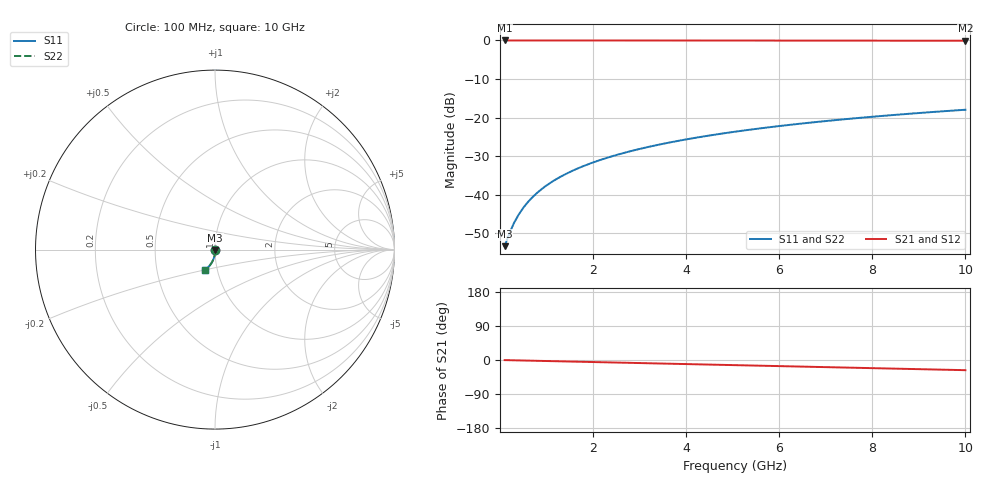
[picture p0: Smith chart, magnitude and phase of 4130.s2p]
# Hz S RI R 50.00
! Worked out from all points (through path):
!   100 points, 100 MHz to 10 GHz, reference 50 ohm
!   highest |S21| = -0.02 dB at 100 MHz (marker M1); lowest = -0.1 dB at 10 GHz (marker M2)
!   group delay of S21, straight-line fit = 7.46 ps
!   lowest |S11| = -53.3 dB at 100 MHz (marker M3), VSWR 1.00, Z = 50.2 - j0.132 ohm
!   |S11| at or under -10 dB: start of sweep to end of sweep
!   |S22| runs from -53.3 to -18.0 dB; largest |S21 - S12| = 0
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1e8  0.00172 -0.00132  0.9983 -0.00468  0.9983 -0.00468  0.00172 -0.00132
2e8  0.00171 -0.00264  0.9982 -0.00937  0.9982 -0.00937  0.00171 -0.00264
3e8  0.00168 -0.00396  0.9981 -0.0141  0.9981 -0.0141  0.00168 -0.00396
4e8  0.00164 -0.00528  0.998 -0.0187  0.998 -0.0187  0.00164 -0.00528
5e8  0.00159 -0.0066  0.9979 -0.0234  0.9979 -0.0234  0.00159 -0.0066
6e8  0.00152 -0.00791  0.9978 -0.0281  0.9978 -0.0281  0.00152 -0.00791
7e8  0.00145 -0.00923  0.9976 -0.0328  0.9976 -0.0328  0.00145 -0.00923
9e8  0.00125 -0.0119  0.9972 -0.0421  0.9972 -0.0421  0.00125 -0.0119
1e9  0.00113 -0.0132  0.997 -0.0468  0.997 -0.0468  0.00113 -0.0132
1.2e9  0.000865 -0.0158  0.9965 -0.0562  0.9965 -0.0562  0.000865 -0.0158
1.5e9  0.000367 -0.0197  0.9955 -0.0702  0.9955 -0.0702  0.000367 -0.0197
1.8e9  -0.000242 -0.0236  0.9943 -0.0842  0.9943 -0.0842  -0.000242 -0.0236
2.1e9  -0.000961 -0.0275  0.9929 -0.0982  0.9929 -0.0982  -0.000961 -0.0275
2.5e9  -0.00209 -0.0327  0.9907 -0.1168  0.9907 -0.1168  -0.00209 -0.0327
2.9e9  -0.00341 -0.0378  0.9881 -0.1353  0.9881 -0.1353  -0.00341 -0.0378
3.4e9  -0.00533 -0.0441  0.9844 -0.1584  0.9844 -0.1584  -0.00533 -0.0441
4.2e9  -0.00902 -0.054  0.9772 -0.1951  0.9772 -0.1951  -0.00902 -0.054
5.1e9  -0.014 -0.0648  0.9674 -0.236  0.9674 -0.236  -0.014 -0.0648
5.9e9  -0.0192 -0.074  0.9571 -0.2719  0.9571 -0.2719  -0.0192 -0.074
6.7e9  -0.0251 -0.0828  0.9454 -0.3073  0.9454 -0.3073  -0.0251 -0.0828
8.4e9  -0.0396 -0.0999  0.916 -0.3806  0.916 -0.3806  -0.0396 -0.0999
1e10  -0.0556 -0.1136  0.883 -0.4468  0.883 -0.4468  -0.0556 -0.1136
